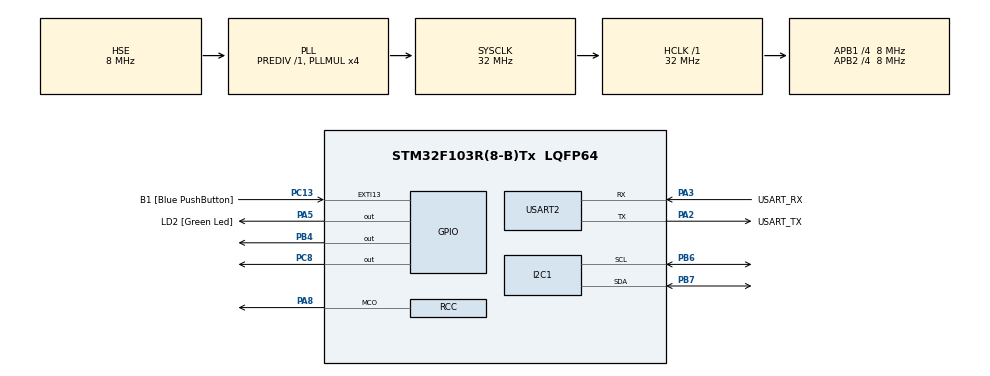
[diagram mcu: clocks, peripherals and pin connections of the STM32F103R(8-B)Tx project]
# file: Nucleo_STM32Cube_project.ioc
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Mcu.Family=STM32F1
RCC.PLLSourceVirtual=RCC_PLLSOURCE_HSE
PC15-OSC32_OUT.Mode=LSE-External-Oscillator
PA2.GPIO_PuPd=GPIO_NOPULL
PD1-OSC_OUT.Mode=HSE-External-Clock-Source
I2C1.GeneralCallMode=I2C_GENERALCALL_DISABLE
PA14.GPIO_Label=TCK
PA3.GPIO_PuPd=GPIO_NOPULL
PC8.Signal=GPIO_Output
PA2.GPIO_Speed=GPIO_SPEED_FREQ_LOW
PC13-TAMPER-RTC.Signal=GPXTI13
PD0-OSC_IN.Signal=RCC_OSC_IN
RCC.APB1CLKDivider=RCC_HCLK_DIV4
PC14-OSC32_IN.Signal=RCC_OSC32_IN
PA3.GPIO_Speed=GPIO_SPEED_FREQ_LOW
RCC.SYSCLKSource=RCC_SYSCLKSOURCE_PLLCLK
ProjectManager.StackSize=0x400
PD1-OSC_OUT.Signal=RCC_OSC_OUT
PA3.Mode=Asynchronous
PA13.Signal=SYS_JTMS-SWDIO
ProjectManager.TargetToolchain=STM32CubeIDE
I2C1.I2C_Mode=I2C_Fast
PA3.GPIO_Mode=GPIO_MODE_AF_PP
RCC.HCLKFreq_Value=32000000
RCC.APB2TimFreq_Value=16000000
PB6.Signal=I2C1_SCL
PB6.Mode=I2C
RCC.USBFreq_Value=32000000
PC15-OSC32_OUT.Signal=RCC_OSC32_OUT
RCC.AHBFreq_Value=32000000
PD0-OSC_IN.Mode=HSE-External-Clock-Source
NVIC.EXTI15_10_IRQn=true\:0\:0\:false\:false\:true\:true\:true
PA5.Signal=GPIO_Output
board=NUCLEO-F103RB
RCC.RTCClockSelection=RCC_RTCCLKSOURCE_LSE
PC13-TAMPER-RTC.GPIO_Label=B1 [Blue PushButton]
RCC.PLLMUL=RCC_PLL_MUL4
RCC.APB2Freq_Value=8000000
I2C1.NoStretchMode=I2C_NOSTRETCH_DISABLE
PC14-OSC32_IN.Mode=LSE-External-Oscillator
PA5.GPIO_ModeDefaultOutputPP=GPIO_MODE_OUTPUT_PP
PA14.Mode=Serial_Wire
PA5.GPIO_PuPd=GPIO_NOPULL
PB7.Signal=I2C1_SDA
PA8.Signal=RCC_MCO
PA13.Mode=Serial_Wire
Mcu.Name=STM32F103R(8-B)Tx
PA2.Signal=USART2_TX
PA13.GPIO_Label=TMS
I2C1.OwnAddress=\ 0x3A
PB3.Signal=SYS_JTDO-TRACESWO
RCC.SYSCLKFreq_VALUE=32000000
Mcu.Package=LQFP64
PA5.GPIO_Label=LD2 [Green Led]
USART2.VirtualMode=VM_ASYNC
PC13-TAMPER-RTC.GPIO_PuPd=GPIO_NOPULL
PA2.GPIO_Label=USART_TX
PB7.Mode=I2C
PA14.Signal=SYS_JTCK-SWCLK
ProjectManager.HeapSize=0x200
PA5.GPIO_Speed=GPIO_SPEED_FREQ_LOW
NVIC.PriorityGroup=NVIC_PRIORITYGROUP_4
RCC.APB2CLKDivider=RCC_HCLK_DIV4
RCC.APB1TimFreq_Value=16000000
PA2.Mode=Asynchronous
PA8.Mode=Clock-out
RCC.APB1Freq_Value=8000000
PB4.Signal=GPIO_Output
PA3.GPIO_Label=USART_RX
PA3.Signal=USART2_RX
PA2.GPIO_Mode=GPIO_MODE_AF_PP
PB3.GPIO_Label=SWO

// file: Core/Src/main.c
#include <stdint.h>
/* USER CODE BEGIN Header */
/**
  ******************************************************************************
  * @file           : main.c
  * @brief          : Main program body
  ******************************************************************************
  * @attention
  *
  * <h2><center>&copy; Copyright (c) 2021 STMicroelectronics.
  * All rights reserved.</center></h2>
  *
  * This software component is licensed by ST under BSD 3-Clause license,
  * the "License"; You may not use this file except in compliance with the
  * License. You may obtain a copy of the License at:
  *                        opensource.org/licenses/BSD-3-Clause
  *
  ******************************************************************************
  */
/* USER CODE END Header */
#include "main.h"

#include<stdio.h>
/* USER CODE BEGIN Includes */
#include "mlx90632.h"
/* USER CODE END Includes */

/* USER CODE BEGIN PD */
#define CHIP_ADDRESS 0x3a << 1
/* USER CODE END PD */

I2C_HandleTypeDef hi2c1;

UART_HandleTypeDef huart2;

void SystemClock_Config(void);
static void MX_GPIO_Init(void);
static void MX_USART2_UART_Init(void);
static void MX_I2C1_Init(void);

/* USER CODE BEGIN 0 */
/* HAL_I2C_Mem_Read()/Write() are used instead of Master_Transmit()/Receive() because repeated start condition is needed */
/* Implementation of I2C read for 16-bit values */
int32_t mlx90632_i2c_read(int16_t register_address, uint16_t *value)
{
	uint8_t data[2];
	int32_t ret;
	ret = HAL_I2C_Mem_Read(&hi2c1, CHIP_ADDRESS, register_address, 2, data, sizeof(data), 100);
	//Endianness
	*value = data[1]|(data[0]<<8);
	return ret;
}

/* Implementation of I2C read for 32-bit values */
int32_t mlx90632_i2c_read32(int16_t register_address, uint32_t *value)
{
	uint8_t data[4];
	int32_t ret;
	ret = HAL_I2C_Mem_Read(&hi2c1, CHIP_ADDRESS, register_address, 2, data, sizeof(data), 100);
	//Endianness
	*value = data[2]<<24|data[3]<<16|data[0]<<8|data[1];
	return ret;
}

/* Implementation of I2C write for 16-bit values */
int32_t mlx90632_i2c_write(int16_t register_address, uint16_t value) {
	uint8_t data[2];
	data[0] = value >> 8;
	data[1] = value;
	return HAL_I2C_Mem_Write(&hi2c1, CHIP_ADDRESS, register_address, 2, data, 2, 100);
}

/* Implementation of reading all calibration parameters for calucation of Ta and To */
static int mlx90632_read_eeprom(int32_t *PR, int32_t *PG, int32_t *PO, int32_t *PT, int32_t *Ea, int32_t *Eb, int32_t *Fa, int32_t *Fb, int32_t *Ga, int16_t *Gb, int16_t *Ha, int16_t *Hb, int16_t *Ka)
{
	int32_t ret;
	ret = mlx90632_i2c_read32(MLX90632_EE_P_R, (uint32_t *) PR);
	if(ret < 0)
		return ret;
	ret = mlx90632_i2c_read32(MLX90632_EE_P_G, (uint32_t *) PG);
	if(ret < 0)
		return ret;
	ret = mlx90632_i2c_read32(MLX90632_EE_P_O, (uint32_t *) PO);
	if(ret < 0)
		return ret;
	ret = mlx90632_i2c_read32(MLX90632_EE_P_T, (uint32_t *) PT);
	if(ret < 0)
		return ret;
	ret = mlx90632_i2c_read32(MLX90632_EE_Ea, (uint32_t *) Ea);
	if(ret < 0)
		return ret;
	ret = mlx90632_i2c_read32(MLX90632_EE_Eb, (uint32_t *) Eb);
	if(ret < 0)
		return ret;
	ret = mlx90632_i2c_read32(MLX90632_EE_Fa, (uint32_t *) Fa);
	if(ret < 0)
		return ret;
	ret = mlx90632_i2c_read32(MLX90632_EE_Fb, (uint32_t *) Fb);
	if(ret < 0)
		return ret;
	ret = mlx90632_i2c_read32(MLX90632_EE_Ga, (uint32_t *) Ga);
	if(ret < 0)
		return ret;
	ret = mlx90632_i2c_read(MLX90632_EE_Gb, (uint16_t *) Gb);
	if(ret < 0)
		return ret;
	ret = mlx90632_i2c_read(MLX90632_EE_Ha, (uint16_t *) Ha);
	if(ret < 0)
		return ret;
	ret = mlx90632_i2c_read(MLX90632_EE_Hb, (uint16_t *) Hb);
	if(ret < 0)
		return ret;
	ret = mlx90632_i2c_read(MLX90632_EE_Ka, (uint16_t *) Ka);
	if(ret < 0)
		return ret;
	return 0;
}

void usleep(int min_range, int max_range) {
	while(--min_range);
}

// TODO: make a correct implemetation
void msleep(int msecs) {
	while(--msecs) {};
}

double pre_ambient, pre_object, ambient, object;

/* USER CODE END 0 */

int main(void)
{
    /* Loop forever */
	printf("Hello World\n");

  /* USER CODE BEGIN 1 */
mlx90632_init();
  /* USER CODE END 1 */

  /* MCU Configuration--------------------------------------------------------*/

  /* Reset of all peripherals, Initializes the Flash interface and the Systick. */
  HAL_Init();

  /* Configure the system clock */
  SystemClock_Config();

  /* Initialize all configured peripherals */
  MX_GPIO_Init();
  MX_USART2_UART_Init();
  MX_I2C1_Init();
  /* USER CODE BEGIN 2 */

	/* Definition of MLX90632 calibration parameters */
	int16_t ambient_new_raw;
	int16_t ambient_old_raw;
	int16_t object_new_raw;
	int16_t object_old_raw;
	int32_t PR = 0x00587f5b;
	int32_t PG = 0x04a10289;
	int32_t PT = 0xfff966f8;
	int32_t PO = 0x00001e0f;
	int32_t Ea = 4859535;
	int32_t Eb = 5686508;
	int32_t Fa = 53855361;
	int32_t Fb = 42874149;
	int32_t Ga = -14556410;
	int16_t Ha = 16384;
	int16_t Hb = 0;
	int16_t Gb = 9728;
	int16_t Ka = 10752;
  /* USER CODE END 2 */

  /* Infinite loop */
  /* USER CODE BEGIN WHILE */

	/* Read EEPROM calibration parameters */
	mlx90632_read_eeprom(&PR, &PG, &PO, &PT, &Ea, &Eb, &Fa, &Fb, &Ga, &Gb, &Ha, &Hb, &Ka);

  while (1)
  {
		/* Get raw data from MLX90632 */
		int32_t ret = mlx90632_read_temp_raw(&ambient_new_raw, &ambient_old_raw, &object_new_raw, &object_old_raw);

	//	if(ret < 0)
	        /* Something went wrong - abort */
//	        return ret;

		/* Pre-calculations for ambient and object temperature calculation */
		printf("anr: %d, aor: %d\nonr: %d, oor: %d\n",
				ambient_new_raw, ambient_old_raw,
				object_new_raw, object_old_raw);
		pre_ambient = mlx90632_preprocess_temp_ambient(ambient_new_raw, ambient_old_raw, Gb);
		pre_object = mlx90632_preprocess_temp_object(object_new_raw, object_old_raw, ambient_new_raw, ambient_old_raw, Ka);
		/* Set emissivity = 1 */
		mlx90632_set_emissivity(1.0);
		/* Calculate ambient and object temperature */
		ambient = mlx90632_calc_temp_ambient(ambient_new_raw, ambient_old_raw, PT, PR, PG, PO, Gb);
		object = mlx90632_calc_temp_object(pre_object, pre_ambient, Ea, Eb, Ga, Fa, Fb, Ha, Hb);
		printf("Ambient: %f", ambient);
		printf("Hello world!");
		printf("Object: %f", object);
	    /* Now start calculations (no more i2c accesses) */
	    /* Calculate ambient temperature */
//	    ambient = mlx90632_calc_temp_ambient(ambient_new_raw, ambient_old_raw,
//	                                         PT, PR, PG, PO, Gb);
//
//	    /* Get preprocessed temperatures needed for object temperature calculation */
//	    double pre_ambient = mlx90632_preprocess_temp_ambient(ambient_new_raw,
//	                                                          ambient_old_raw, Gb);
//	    double pre_object = mlx90632_preprocess_temp_object(object_new_raw, object_old_raw,
//	                                                        ambient_new_raw, ambient_old_raw,
//	                                                        Ka);
//	    /* Calculate object temperature */
//	    object = mlx90632_calc_temp_object(pre_object, pre_ambient, Ea, Eb, Ga, Fa, Fb, Ha, Hb);
//
//	    printf("Hello");
    /* USER CODE END WHILE */

    /* USER CODE BEGIN 3 */
//	  HAL_GPIO_TogglePin(GPIOC, GPIO_PIN_8);
//	  HAL_Delay(10);
  }
  /* USER CODE END 3 */
}

void SystemClock_Config(void)
{
  RCC_OscInitTypeDef RCC_OscInitStruct = {0};
  RCC_ClkInitTypeDef RCC_ClkInitStruct = {0};

  /** Initializes the RCC Oscillators according to the specified parameters
  * in the RCC_OscInitTypeDef structure.
  */
  RCC_OscInitStruct.OscillatorType = RCC_OSCILLATORTYPE_HSE;
  RCC_OscInitStruct.HSEState = RCC_HSE_BYPASS;
  RCC_OscInitStruct.HSEPredivValue = RCC_HSE_PREDIV_DIV1;
  RCC_OscInitStruct.HSIState = RCC_HSI_ON;
  RCC_OscInitStruct.PLL.PLLState = RCC_PLL_ON;
  RCC_OscInitStruct.PLL.PLLSource = RCC_PLLSOURCE_HSE;
  RCC_OscInitStruct.PLL.PLLMUL = RCC_PLL_MUL4;
  if (HAL_RCC_OscConfig(&RCC_OscInitStruct) != HAL_OK)
  {
    Error_Handler();
  }
  /** Initializes the CPU, AHB and APB buses clocks
  */
  RCC_ClkInitStruct.ClockType = RCC_CLOCKTYPE_HCLK|RCC_CLOCKTYPE_SYSCLK
                              |RCC_CLOCKTYPE_PCLK1|RCC_CLOCKTYPE_PCLK2;
  RCC_ClkInitStruct.SYSCLKSource = RCC_SYSCLKSOURCE_PLLCLK;
  RCC_ClkInitStruct.AHBCLKDivider = RCC_SYSCLK_DIV1;
  RCC_ClkInitStruct.APB1CLKDivider = RCC_HCLK_DIV4;
  RCC_ClkInitStruct.APB2CLKDivider = RCC_HCLK_DIV4;

  if (HAL_RCC_ClockConfig(&RCC_ClkInitStruct, FLASH_LATENCY_1) != HAL_OK)
  {
    Error_Handler();
  }
  HAL_RCC_MCOConfig(RCC_MCO, RCC_MCO1SOURCE_SYSCLK, RCC_MCODIV_1);
}

static void MX_I2C1_Init(void)
{

  hi2c1.Instance = I2C1;
  hi2c1.Init.ClockSpeed = 400000;
  hi2c1.Init.DutyCycle = I2C_DUTYCYCLE_2;
  hi2c1.Init.OwnAddress1 = 116;
  hi2c1.Init.AddressingMode = I2C_ADDRESSINGMODE_7BIT;
  hi2c1.Init.DualAddressMode = I2C_DUALADDRESS_DISABLE;
  hi2c1.Init.OwnAddress2 = 0;
  hi2c1.Init.GeneralCallMode = I2C_GENERALCALL_DISABLE;
  hi2c1.Init.NoStretchMode = I2C_NOSTRETCH_DISABLE;
  if (HAL_I2C_Init(&hi2c1) != HAL_OK)
  {
    Error_Handler();
  }

}

static void MX_USART2_UART_Init(void)
{

  huart2.Instance = USART2;
  huart2.Init.BaudRate = 115200;
  huart2.Init.WordLength = UART_WORDLENGTH_8B;
  huart2.Init.StopBits = UART_STOPBITS_1;
  huart2.Init.Parity = UART_PARITY_NONE;
  huart2.Init.Mode = UART_MODE_TX_RX;
  huart2.Init.HwFlowCtl = UART_HWCONTROL_NONE;
  huart2.Init.OverSampling = UART_OVERSAMPLING_16;
  if (HAL_UART_Init(&huart2) != HAL_OK)
  {
    Error_Handler();
  }

}

static void MX_GPIO_Init(void)
{
  GPIO_InitTypeDef GPIO_InitStruct = {0};

  /* GPIO Ports Clock Enable */
  __HAL_RCC_GPIOC_CLK_ENABLE();
  __HAL_RCC_GPIOD_CLK_ENABLE();
  __HAL_RCC_GPIOA_CLK_ENABLE();
  __HAL_RCC_GPIOB_CLK_ENABLE();

  /*Configure GPIO pin Output Level */
  HAL_GPIO_WritePin(LD2_GPIO_Port, LD2_Pin, GPIO_PIN_RESET);

  /*Configure GPIO pin Output Level */
  HAL_GPIO_WritePin(GPIOC, GPIO_PIN_8, GPIO_PIN_RESET);

  /*Configure GPIO pin Output Level */
  HAL_GPIO_WritePin(GPIOB, GPIO_PIN_4, GPIO_PIN_RESET);

  /*Configure GPIO pin : B1_Pin */
  GPIO_InitStruct.Pin = B1_Pin;
  GPIO_InitStruct.Mode = GPIO_MODE_IT_RISING;
  GPIO_InitStruct.Pull = GPIO_NOPULL;
  HAL_GPIO_Init(B1_GPIO_Port, &GPIO_InitStruct);

  /*Configure GPIO pin : LD2_Pin */
  GPIO_InitStruct.Pin = LD2_Pin;
  GPIO_InitStruct.Mode = GPIO_MODE_OUTPUT_PP;
  GPIO_InitStruct.Pull = GPIO_NOPULL;
  GPIO_InitStruct.Speed = GPIO_SPEED_FREQ_LOW;
  HAL_GPIO_Init(LD2_GPIO_Port, &GPIO_InitStruct);

  /*Configure GPIO pin : PC8 */
  GPIO_InitStruct.Pin = GPIO_PIN_8;
  GPIO_InitStruct.Mode = GPIO_MODE_OUTPUT_PP;
  GPIO_InitStruct.Pull = GPIO_NOPULL;
  GPIO_InitStruct.Speed = GPIO_SPEED_FREQ_LOW;
  HAL_GPIO_Init(GPIOC, &GPIO_InitStruct);

  /*Configure GPIO pin : PA8 */
  GPIO_InitStruct.Pin = GPIO_PIN_8;
  GPIO_InitStruct.Mode = GPIO_MODE_AF_PP;
  GPIO_InitStruct.Speed = GPIO_SPEED_FREQ_LOW;
  HAL_GPIO_Init(GPIOA, &GPIO_InitStruct);

  /*Configure GPIO pin : PB4 */
  GPIO_InitStruct.Pin = GPIO_PIN_4;
  GPIO_InitStruct.Mode = GPIO_MODE_OUTPUT_PP;
  GPIO_InitStruct.Pull = GPIO_NOPULL;
  GPIO_InitStruct.Speed = GPIO_SPEED_FREQ_LOW;
  HAL_GPIO_Init(GPIOB, &GPIO_InitStruct);

  /* EXTI interrupt init*/
  HAL_NVIC_SetPriority(EXTI15_10_IRQn, 0, 0);
  HAL_NVIC_EnableIRQ(EXTI15_10_IRQn);

}

void Error_Handler(void)
{
  __disable_irq();
  while (1)
  {
  }
}

/************************ (C) COPYRIGHT STMicroelectronics *****END OF FILE****/
